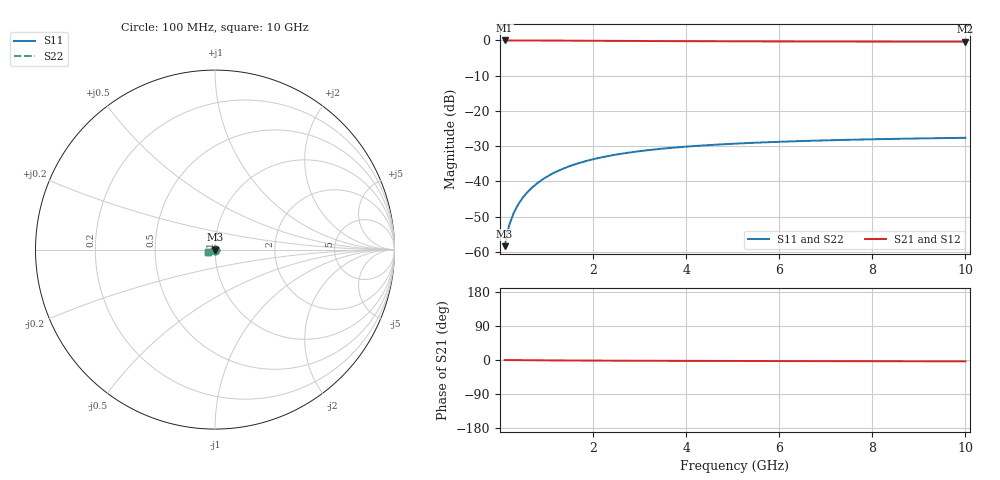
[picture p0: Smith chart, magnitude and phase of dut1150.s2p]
! Touchstone file exported from HFSS 2024.1.0
!  File:  C:/UserFiles/LocalFiles/RDL_TSV_Batchsim/temp_TSV1_1150_1780071868.aedt
!  Generated:  12:29:03 AM May 30, 2026
!  Design:  TSV1
!  Project:  temp_TSV1_1150_1780071868
!  Setup:  Setup1
!  Solution:  Sweep
! Variables:
!  dtsv = 14.83um
!  hbump = 3um
!  htsv = 50.83um
!  lrdl = 252.1521522um
!  p = 40
!  p1 = 48.87um
!  t = 500um
!  trdl = 3um
!  wrdl = 24.89489489um
# GHz S MA R 50.000000
! Terminal data exported
! Port[1] = TSV22_T1
! Port[2] = TSV22_T2
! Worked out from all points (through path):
!   100 points, 100 MHz to 10 GHz, reference 50 ohm
!   highest |S21| = 0.00 dB at 100 MHz (marker M1); lowest = -0.3 dB at 10 GHz (marker M2)
!   lowest |S11| = -58.4 dB at 100 MHz (marker M3), VSWR 1.00, Z = 50 - j0.12 ohm
!   |S11| at or under -10 dB: start of sweep to end of sweep
!   |S22| runs from -58.4 to -27.6 dB; largest |S21 - S12| = 4e-15
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0.1  0.0012 -88.6  0.9999 -0.1  0.9999 -0.1  0.0012 -88.6
! Gamma 0 0 0 0
! Port Impedance 50 0 50 0
0.2  0.002406 -92.0  0.9998 -0.2  0.9998 -0.2  0.002406 -92.0
0.3  0.003606 -94.2  0.9996 -0.3  0.9996 -0.3  0.003606 -94.2
0.4  0.004794 -96.2  0.9993 -0.4  0.9993 -0.4  0.004794 -96.2
0.5  0.005969 -98.0  0.999 -0.5  0.999 -0.5  0.005969 -98.0
0.6  0.007126 -99.7  0.9986 -0.6  0.9986 -0.6  0.007126 -99.7
0.7  0.008264 -101.4  0.9982 -0.7  0.9982 -0.7  0.008264 -101.4
0.8  0.009379 -103.1  0.9977 -0.8  0.9977 -0.8  0.009379 -103.1
0.9  0.01047 -104.7  0.9971 -0.8  0.9971 -0.8  0.01047 -104.7
1.1  0.01257 -107.8  0.9959 -1.0  0.9959 -1.0  0.01257 -107.8
1.4  0.01551 -112.2  0.9938 -1.2  0.9938 -1.2  0.01551 -112.2
1.6  0.01731 -115.0  0.9924 -1.3  0.9924 -1.3  0.01731 -115.0
1.8  0.01899 -117.6  0.9909 -1.5  0.9909 -1.5  0.01899 -117.6
2.1  0.02129 -121.2  0.9887 -1.6  0.9887 -1.6  0.02129 -121.2
2.5  0.02397 -125.5  0.9859 -1.8  0.9859 -1.8  0.02397 -125.5
2.9  0.02627 -129.3  0.9832 -2.0  0.9832 -2.0  0.02627 -129.3
3.4  0.02868 -133.4  0.9802 -2.1  0.9802 -2.1  0.02868 -133.4
4.2  0.03175 -138.9  0.976 -2.4  0.976 -2.4  0.03175 -138.9
5.1  0.03437 -143.7  0.9721 -2.6  0.9721 -2.6  0.03437 -143.7
6.7  0.03765 -150.3  0.967 -2.9  0.967 -2.9  0.03765 -150.3
8.4  0.03997 -155.4  0.9633 -3.3  0.9633 -3.3  0.03997 -155.4
10  0.04148 -159.1  0.9608 -3.6  0.9608 -3.6  0.04148 -159.1
